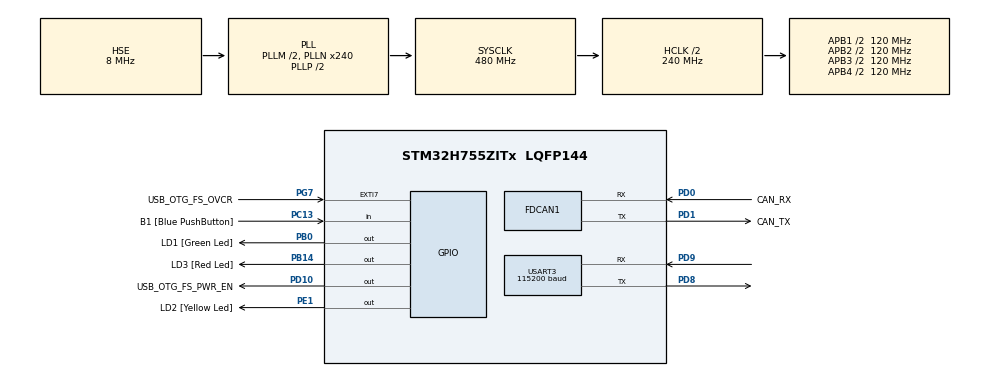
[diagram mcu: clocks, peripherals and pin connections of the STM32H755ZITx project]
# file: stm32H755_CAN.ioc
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CortexM4.IPs=FATFS_M4\:I,FREERTOS_M4\:I,IWDG2\:I,RCC,WWDG2\:I,DMA,BDMA,MDMA,NVIC2\:I,ETH,USART3,DEBUG,PDM2PCM_M4\:I,PWR,RESMGR_UTILITY,SYS_M4\:I,USB_DEVICE_M4\:I,USB_HOST_M4\:I,CORTEX_M4\:I,GPIO,OPENAMP_M4\:I,VREFBUF,NUCLEO-H755ZI-Q
CortexM4.Pins=PE1
CortexM7.IPs=FATFS_M7\:I,FREERTOS_M7\:I,IWDG1\:I,RCC\:I,WWDG1\:I,DMA\:I,BDMA\:I,MDMA\:I,NVIC1\:I,ETH\:I,USART3\:I,USB_OTG_FS\:I,SYS\:I,CORTEX_M7\:I,DEBUG\:I,PDM2PCM_M7\:I,PWR\:I,RESMGR_UTILITY\:I,USB_DEVICE_M7\:I,USB_HOST_M7\:I,GPIO\:I,OPENAMP_M7\:I,VREFBUF\:I,NUCLEO-H755ZI-Q\:I,FDCAN1\:I
CortexM7.Pins=PC13,PB0,PB14
FDCAN1.AutoRetransmission=DISABLE
FDCAN1.CalculateBaudRateNominal=500000
FDCAN1.CalculateTimeBitNominal=2000
FDCAN1.CalculateTimeQuantumNominal=50.0
FDCAN1.NominalPrescaler=2
FDCAN1.NominalSyncJumpWidth=8
FDCAN1.NominalTimeSeg1=31  
FDCAN1.NominalTimeSeg2=8
FDCAN1.ProtocolException=ENABLE
FDCAN1.RxFifo0ElmtsNbr=1
FDCAN1.StdFiltersNbr=1
FDCAN1.TxFifoQueueElmtsNbr=1
Mcu.Family=STM32H7
Mcu.Name=STM32H755ZITx
Mcu.Package=LQFP144
NVIC1.PriorityGroup=NVIC_PRIORITYGROUP_4
NVIC2.PriorityGroup=NVIC_PRIORITYGROUP_4
PA1.PinAttribute=CortexM7
PA1.Signal=ETH_REF_CLK
PA11.PinAttribute=CortexM7
PA11.Signal=USB_OTG_FS_DM
PA12.PinAttribute=CortexM7
PA12.Signal=USB_OTG_FS_DP
PA2.PinAttribute=CortexM7
PA2.Signal=ETH_MDIO
PA7.PinAttribute=CortexM7
PA7.Signal=ETH_CRS_DV
PA8.PinAttribute=CortexM7
PA8.Signal=USB_OTG_FS_SOF
PA9.PinAttribute=CortexM7
PA9.Signal=USB_OTG_FS_VBUS
PB0.GPIO_Label=LD1 [Green Led]
PB0.PinAttribute=CortexM7
PB0.Signal=GPIO_Output
PB13.PinAttribute=CortexM7
PB13.Signal=ETH_TXD1
PB14.GPIO_Label=LD3 [Red Led]
PB14.PinAttribute=CortexM7
PB14.Signal=GPIO_Output
PC1.PinAttribute=CortexM7
PC1.Signal=ETH_MDC
PC13.GPIO_Label=B1 [Blue PushButton]
PC13.PinAttribute=CortexM7
PC13.Signal=GPIO_Input
PC14-OSC32_IN\ (OSC32_IN).Mode=LSE-External-Oscillator
PC14-OSC32_IN\ (OSC32_IN).PinAttribute=Free
PC14-OSC32_IN\ (OSC32_IN).Signal=RCC_OSC32_IN
PC15-OSC32_OUT\ (OSC32_OUT).Mode=LSE-External-Oscillator
PC15-OSC32_OUT\ (OSC32_OUT).PinAttribute=Free
PC15-OSC32_OUT\ (OSC32_OUT).Signal=RCC_OSC32_OUT
PC4.PinAttribute=CortexM7
PC4.Signal=ETH_RXD0
PC5.PinAttribute=CortexM7
PC5.Signal=ETH_RXD1
PD0.GPIO_Label=CAN_RX
PD0.GPIO_PuPd=GPIO_NOPULL
PD0.GPIO_Speed=GPIO_SPEED_FREQ_VERY_HIGH
PD0.Mode=FDCAN_Activate
PD0.PinAttribute=CortexM7
PD0.Signal=FDCAN1_RX
PD1.GPIO_Label=CAN_TX
PD1.GPIO_PuPd=GPIO_PULLUP
PD1.GPIO_Speed=GPIO_SPEED_FREQ_VERY_HIGH
PD1.Mode=FDCAN_Activate
PD1.PinAttribute=CortexM7
PD1.Signal=FDCAN1_TX
PD10.GPIO_Label=USB_OTG_FS_PWR_EN
PD10.PinAttribute=Free
PD10.Signal=GPIO_Output
PD8.Mode=Asynchronous
PD8.PinAttribute=CortexM7
PD8.Signal=USART3_TX
PD9.Mode=Asynchronous
PD9.PinAttribute=CortexM7
PD9.Signal=USART3_RX
PE1.GPIO_Label=LD2 [Yellow Led]
PE1.PinAttribute=CortexM4
PE1.Signal=GPIO_Output
PG11.PinAttribute=CortexM7
PG11.Signal=ETH_TX_EN
PG13.PinAttribute=CortexM7
PG13.Signal=ETH_TXD0
PG7.GPIO_Label=USB_OTG_FS_OVCR
PG7.PinAttribute=Free
PG7.Signal=GPXTI7
PH0-OSC_IN\ (PH0).Mode=HSE-External-Clock-Source
PH0-OSC_IN\ (PH0).PinAttribute=Free
PH0-OSC_IN\ (PH0).Signal=RCC_OSC_IN
PH1-OSC_OUT\ (PH1).PinAttribute=Free
PH1-OSC_OUT\ (PH1).Signal=RCC_OSC_OUT
ProjectManager.HeapSize=M4-0x200,M7-0x200
ProjectManager.StackSize=M4-0x400,M7-0x400
ProjectManager.TargetToolchain=STM32CubeIDE
RCC.ADCFreq_Value=16125000
RCC.APB1Freq_Value=120000000
RCC.APB2Freq_Value=120000000
RCC.APB3Freq_Value=120000000
RCC.APB4Freq_Value=120000000
RCC.CortexFreq_Value=480000000
RCC.D1PPRE=RCC_APB3_DIV2
RCC.D2PPRE1=RCC_APB1_DIV2
RCC.D2PPRE2=RCC_APB2_DIV2
RCC.D3PPRE=RCC_APB4_DIV2
RCC.DIVM1=2
RCC.DIVN1=240
RCC.DIVQ1=24
RCC.HCLKFreq_Value=240000000
RCC.HPRE=RCC_HCLK_DIV2
RCC.HSE_VALUE=8000000
RCC.PLL2FRACN=0
RCC.PLL2_VCI_Range-AdvancedSettings=RCC_PLL2VCIRANGE_0
RCC.PLL3FRACN=0
RCC.PLL3_VCI_Range-AdvancedSettings=RCC_PLL3VCIRANGE_0
RCC.PLLFRACN=0
RCC.PLLSourceVirtual=RCC_PLLSOURCE_HSE
RCC.SYSCLKFreq_VALUE=480000000
RCC.SYSCLKSource=RCC_SYSCLKSOURCE_PLLCLK
RCC.SupplySource=PWR_DIRECT_SMPS_SUPPLY
RCC.USBFreq_Value=40000000
USART3.BaudRate=115200
USART3.VirtualMode-Asynchronous=VM_ASYNC
VP_SYS_M4_VS_Systick.Mode=SysTick
board=NUCLEO-H755ZI-Q

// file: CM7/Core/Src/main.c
/* USER CODE BEGIN Header */
/**
  ******************************************************************************
  * @file           : main.c
  * @brief          : Main program body
  ******************************************************************************
  * @attention
  *
  * Copyright (c) 2024 STMicroelectronics.
  * All rights reserved.
  *
  * This software is licensed under terms that can be found in the LICENSE file
  * in the root directory of this software component.
  * If no LICENSE file comes with this software, it is provided AS-IS.
  *
  ******************************************************************************
  */
/* USER CODE END Header */
#include "main.h"

/* USER CODE BEGIN Includes */
#include <stdio.h>
/* USER CODE END Includes */

/* USER CODE BEGIN PD */

#ifndef HSEM_ID_0
#define HSEM_ID_0 (0U) /* HW semaphore 0*/
#endif

/* USER CODE END PD */

FDCAN_HandleTypeDef hfdcan1;

UART_HandleTypeDef huart3;

/* USER CODE BEGIN PV */
FDCAN_FilterTypeDef sFilterConfig;
FDCAN_TxHeaderTypeDef TxHeader;
FDCAN_RxHeaderTypeDef RxHeader;
uint8_t TxData[8] = {0x10, 0x34, 0x54, 0x76, 0x98, 0x00, 0x11, 0x22};
uint8_t RxData[8];
/* USER CODE END PV */

void SystemClock_Config(void);
static void MX_GPIO_Init(void);
static void MX_USART3_UART_Init(void);
static void MX_FDCAN1_Init(void);

int main(void)
{

/* USER CODE BEGIN Boot_Mode_Sequence_0 */
  int32_t timeout;
/* USER CODE END Boot_Mode_Sequence_0 */

/* USER CODE BEGIN Boot_Mode_Sequence_1 */
  /* Wait until CPU2 boots and enters in stop mode or timeout*/
  timeout = 0xFFFF;
  while((__HAL_RCC_GET_FLAG(RCC_FLAG_D2CKRDY) != RESET) && (timeout-- > 0));
  if ( timeout < 0 )
  {
  Error_Handler();
  }
/* USER CODE END Boot_Mode_Sequence_1 */
  /* MCU Configuration--------------------------------------------------------*/

  /* Reset of all peripherals, Initializes the Flash interface and the Systick. */
  HAL_Init();

  /* Configure the system clock */
  SystemClock_Config();
/* USER CODE BEGIN Boot_Mode_Sequence_2 */
/* When system initialization is finished, Cortex-M7 will release Cortex-M4 by means of
HSEM notification */
/*HW semaphore Clock enable*/
__HAL_RCC_HSEM_CLK_ENABLE();
/*Take HSEM */
HAL_HSEM_FastTake(HSEM_ID_0);
/*Release HSEM in order to notify the CPU2(CM4)*/
HAL_HSEM_Release(HSEM_ID_0,0);
/* wait until CPU2 wakes up from stop mode */
timeout = 0xFFFF;
while((__HAL_RCC_GET_FLAG(RCC_FLAG_D2CKRDY) == RESET) && (timeout-- > 0));
if ( timeout < 0 )
{
Error_Handler();
}
/* USER CODE END Boot_Mode_Sequence_2 */

  /* Initialize all configured peripherals */
  MX_GPIO_Init();
  MX_USART3_UART_Init();
  MX_FDCAN1_Init();

  /* Infinite loop */
  /* USER CODE BEGIN WHILE */
  /* USER CODE BEGIN WHILE */ /*AAO+*/
  printf("Welcome to the CANbus!!!\n\r");
  while (1)
  {
    /* USER CODE END WHILE */

    /* USER CODE BEGIN 3 */
      // Send message
//	if (HAL_FDCAN_AddMessageToTxFifoQ(&hfdcan1, &TxHeader, TxData) == HAL_OK) {
//		// Message successfully added to the transmit queue
//		printf("Success\n\r");
//	} else {
//		// Handle error
//		printf("No success\n\r");
//	}
//	HAL_Delay(1000); // Wait 1 second before sending the next message

	// Esperar a que se reciba un mensaje CAN
	if (HAL_FDCAN_GetRxMessage(&hfdcan1, FDCAN_RX_FIFO0, &RxHeader, RxData) == HAL_OK) {
		// Imprimir el identificador del mensaje
		printf("\n\rMensaje recibido - ID: 0x%lx\n\r", RxHeader.Identifier);
	} else {
		printf("Error al recibir el mensaje CAN.\n\r");
	}

//	printf("A\n\r");
//	HAL_FDCAN_RxFifo0Callback( &hfdcan1, FDCAN_RX_FIFO0);
//	printf("B\n\r");

	HAL_Delay(1000); // Esperar antes de procesar el siguiente mensaje

//      // Wait until a CAN message is received
//      while (HAL_FDCAN_GetRxMessage(&hfdcan1, FDCAN_RX_FIFO0, &RxHeader, RxData) != HAL_OK);
//
//      // Print CAN ID
//      printf("\n\r0x%lx", RxHeader.Identifier);
//
//      // Print the CAN data length and data bytes
////      printf(" [%lu]", RxHeader.DataLength >> 16);  // Data length is stored in bits 16-19
//      printf(" [%lu]", RxHeader.DataLength);  // Data length is stored in bits 16-19
//      printf(" ");
//
//      // Loop through each byte of the CAN message data and print it
//      for (int i = 0; i < (RxHeader.DataLength); i++) {
//          printf("0x%02X ", RxData[i]);  // Print each byte in hexadecimal
//      }
//
//      // Delay for 100 ms
//      HAL_Delay(100);

//	  HAL_GPIO_TogglePin(LD1_GPIO_Port, LD1_Pin);
//	  printf("A\n\r");
//	  HAL_Delay(2000);
  }
  /* USER CODE END 3 */
}

void SystemClock_Config(void)
{
  RCC_OscInitTypeDef RCC_OscInitStruct = {0};
  RCC_ClkInitTypeDef RCC_ClkInitStruct = {0};

  /** Supply configuration update enable
  */
  HAL_PWREx_ConfigSupply(PWR_DIRECT_SMPS_SUPPLY);

  /** Configure the main internal regulator output voltage
  */
  __HAL_PWR_VOLTAGESCALING_CONFIG(PWR_REGULATOR_VOLTAGE_SCALE0);

  while(!__HAL_PWR_GET_FLAG(PWR_FLAG_VOSRDY)) {}

  /** Initializes the RCC Oscillators according to the specified parameters
  * in the RCC_OscInitTypeDef structure.
  */
  RCC_OscInitStruct.OscillatorType = RCC_OSCILLATORTYPE_HSE;
  RCC_OscInitStruct.HSEState = RCC_HSE_BYPASS;
  RCC_OscInitStruct.PLL.PLLState = RCC_PLL_ON;
  RCC_OscInitStruct.PLL.PLLSource = RCC_PLLSOURCE_HSE;
  RCC_OscInitStruct.PLL.PLLM = 2;
  RCC_OscInitStruct.PLL.PLLN = 240;
  RCC_OscInitStruct.PLL.PLLP = 2;
  RCC_OscInitStruct.PLL.PLLQ = 24;
  RCC_OscInitStruct.PLL.PLLR = 2;
  RCC_OscInitStruct.PLL.PLLRGE = RCC_PLL1VCIRANGE_2;
  RCC_OscInitStruct.PLL.PLLVCOSEL = RCC_PLL1VCOWIDE;
  RCC_OscInitStruct.PLL.PLLFRACN = 0;
  if (HAL_RCC_OscConfig(&RCC_OscInitStruct) != HAL_OK)
  {
    Error_Handler();
  }

  /** Initializes the CPU, AHB and APB buses clocks
  */
  RCC_ClkInitStruct.ClockType = RCC_CLOCKTYPE_HCLK|RCC_CLOCKTYPE_SYSCLK
                              |RCC_CLOCKTYPE_PCLK1|RCC_CLOCKTYPE_PCLK2
                              |RCC_CLOCKTYPE_D3PCLK1|RCC_CLOCKTYPE_D1PCLK1;
  RCC_ClkInitStruct.SYSCLKSource = RCC_SYSCLKSOURCE_PLLCLK;
  RCC_ClkInitStruct.SYSCLKDivider = RCC_SYSCLK_DIV1;
  RCC_ClkInitStruct.AHBCLKDivider = RCC_HCLK_DIV2;
  RCC_ClkInitStruct.APB3CLKDivider = RCC_APB3_DIV2;
  RCC_ClkInitStruct.APB1CLKDivider = RCC_APB1_DIV2;
  RCC_ClkInitStruct.APB2CLKDivider = RCC_APB2_DIV2;
  RCC_ClkInitStruct.APB4CLKDivider = RCC_APB4_DIV2;

  if (HAL_RCC_ClockConfig(&RCC_ClkInitStruct, FLASH_LATENCY_4) != HAL_OK)
  {
    Error_Handler();
  }
}

static void MX_FDCAN1_Init(void)
{

  hfdcan1.Instance = FDCAN1;
  hfdcan1.Init.FrameFormat = FDCAN_FRAME_CLASSIC;
  hfdcan1.Init.Mode = FDCAN_MODE_NORMAL;
  hfdcan1.Init.AutoRetransmission = DISABLE;
  hfdcan1.Init.TransmitPause = DISABLE;
  hfdcan1.Init.ProtocolException = ENABLE;
  hfdcan1.Init.NominalPrescaler = 2;
  hfdcan1.Init.NominalSyncJumpWidth = 8;
  hfdcan1.Init.NominalTimeSeg1 = 31 ;
  hfdcan1.Init.NominalTimeSeg2 = 8;
  hfdcan1.Init.DataPrescaler = 1;
  hfdcan1.Init.DataSyncJumpWidth = 1;
  hfdcan1.Init.DataTimeSeg1 = 1;
  hfdcan1.Init.DataTimeSeg2 = 1;
  hfdcan1.Init.MessageRAMOffset = 0;
  hfdcan1.Init.StdFiltersNbr = 1;
  hfdcan1.Init.ExtFiltersNbr = 0;
  hfdcan1.Init.RxFifo0ElmtsNbr = 1;
  hfdcan1.Init.RxFifo0ElmtSize = FDCAN_DATA_BYTES_8;
  hfdcan1.Init.RxFifo1ElmtsNbr = 0;
  hfdcan1.Init.RxFifo1ElmtSize = FDCAN_DATA_BYTES_8;
  hfdcan1.Init.RxBuffersNbr = 0;
  hfdcan1.Init.RxBufferSize = FDCAN_DATA_BYTES_8;
  hfdcan1.Init.TxEventsNbr = 0;
  hfdcan1.Init.TxBuffersNbr = 0;
  hfdcan1.Init.TxFifoQueueElmtsNbr = 1;
  hfdcan1.Init.TxFifoQueueMode = FDCAN_TX_FIFO_OPERATION;
  hfdcan1.Init.TxElmtSize = FDCAN_DATA_BYTES_8;
  if (HAL_FDCAN_Init(&hfdcan1) != HAL_OK)
  {
    Error_Handler();
  }
  /* USER CODE BEGIN FDCAN1_Init 2 */
  /*AAO+*/
   /* Configure Rx filter */

  //  CAN Standard Configuration
//    sFilterConfig.IdType = FDCAN_STANDARD_ID;
//    sFilterConfig.FilterIndex = 0;
//    sFilterConfig.FilterType = FDCAN_FILTER_MASK;
//    sFilterConfig.FilterConfig = FDCAN_FILTER_TO_RXFIFO0;
//    sFilterConfig.FilterID1 = 0x123;           // El ID específico que deseas filtrar
//    sFilterConfig.FilterID2 = 0x7FF;           // Máscara para filtrar exactamente el ID 0x123

  	//	CAN J1939 Configuration
	sFilterConfig.IdType = FDCAN_EXTENDED_ID;  // ID extendido de 29 bits
	sFilterConfig.FilterIndex = 0;
	sFilterConfig.FilterType = FDCAN_FILTER_MASK;
	sFilterConfig.FilterConfig = FDCAN_FILTER_TO_RXFIFO0;

	//	CAN Standard Configuration
//	  sFilterConfig.FilterID1 = 0x18FF1234;     // ID extendido específico
//    sFilterConfig.FilterID2 = 0x1FFFFFFF;     // Máscara para todos los bits

	//	CAN J1939 Configuration
//    sFilterConfig.FilterID1 = 0x18FF1234;     // ID extendido específico
//    sFilterConfig.FilterID2 = 0x1FFFFFFF;     // Máscara para todos los bits

	sFilterConfig.FilterID1 = 0x00000000;
	sFilterConfig.FilterID2 = 0x00000000;

//	sFilterConfig.FilterID1 = 0x18FF0000;  // PGN J1939 (0x18FF####)
//	sFilterConfig.FilterID2 = 0x18FFFF00;  // Máscara para ignorar la dirección fuente

    /* Configure global filter to reject all non-matching frames */
    HAL_FDCAN_ConfigGlobalFilter(&hfdcan1, FDCAN_REJECT, FDCAN_REJECT, FDCAN_REJECT_REMOTE, FDCAN_REJECT_REMOTE);

    if (HAL_FDCAN_ConfigFilter(&hfdcan1, &sFilterConfig) != HAL_OK)
      {
         /* Filter configuration Error */
         Error_Handler();
      }
     /* Start the FDCAN module */
    if (HAL_FDCAN_Start(&hfdcan1) != HAL_OK) {
      }
         /* Start Error */
    if (HAL_FDCAN_ActivateNotification(&hfdcan1, FDCAN_IT_RX_FIFO0_NEW_MESSAGE, 0) != HAL_OK) {
      }
         /* Notification Error */

     /* Configure Tx buffer message */
//	CAN Standard Configuration
//    TxHeader.Identifier = 0x121;
//    TxHeader.IdType = FDCAN_STANDARD_ID;
//    TxHeader.TxFrameType = FDCAN_DATA_FRAME;
//    TxHeader.DataLength = FDCAN_DLC_BYTES_8;

//	CAN J1939 Configuration
    TxHeader.Identifier = 0x18FF1233;  // Ejemplo de ID extendido J1939
    TxHeader.IdType = FDCAN_EXTENDED_ID;
    TxHeader.TxFrameType = FDCAN_DATA_FRAME;
    TxHeader.DataLength = FDCAN_DLC_BYTES_8;

    TxHeader.ErrorStateIndicator = FDCAN_ESI_ACTIVE;
    TxHeader.BitRateSwitch = FDCAN_BRS_OFF;
    TxHeader.FDFormat = FDCAN_FD_CAN;
    TxHeader.TxEventFifoControl = FDCAN_NO_TX_EVENTS;
    TxHeader.MessageMarker = 0x00;
   /*AAO-*/

     /* USER CODE END WHILE */

  /* USER CODE END FDCAN1_Init 2 */

}

static void MX_USART3_UART_Init(void)
{

  huart3.Instance = USART3;
  huart3.Init.BaudRate = 115200;
  huart3.Init.WordLength = UART_WORDLENGTH_8B;
  huart3.Init.StopBits = UART_STOPBITS_1;
  huart3.Init.Parity = UART_PARITY_NONE;
  huart3.Init.Mode = UART_MODE_TX_RX;
  huart3.Init.HwFlowCtl = UART_HWCONTROL_NONE;
  huart3.Init.OverSampling = UART_OVERSAMPLING_16;
  huart3.Init.OneBitSampling = UART_ONE_BIT_SAMPLE_DISABLE;
  huart3.Init.ClockPrescaler = UART_PRESCALER_DIV1;
  huart3.AdvancedInit.AdvFeatureInit = UART_ADVFEATURE_NO_INIT;
  if (HAL_UART_Init(&huart3) != HAL_OK)
  {
    Error_Handler();
  }
  if (HAL_UARTEx_SetTxFifoThreshold(&huart3, UART_TXFIFO_THRESHOLD_1_8) != HAL_OK)
  {
    Error_Handler();
  }
  if (HAL_UARTEx_SetRxFifoThreshold(&huart3, UART_RXFIFO_THRESHOLD_1_8) != HAL_OK)
  {
    Error_Handler();
  }
  if (HAL_UARTEx_DisableFifoMode(&huart3) != HAL_OK)
  {
    Error_Handler();
  }

}

static void MX_GPIO_Init(void)
{
  GPIO_InitTypeDef GPIO_InitStruct = {0};

  /* GPIO Ports Clock Enable */
  __HAL_RCC_GPIOC_CLK_ENABLE();
  __HAL_RCC_GPIOA_CLK_ENABLE();
  __HAL_RCC_GPIOB_CLK_ENABLE();
  __HAL_RCC_GPIOD_CLK_ENABLE();
  __HAL_RCC_GPIOG_CLK_ENABLE();

  /*Configure GPIO pin Output Level */
  HAL_GPIO_WritePin(GPIOB, LD1_Pin|LD3_Pin, GPIO_PIN_RESET);

  /*Configure GPIO pin : B1_Pin */
  GPIO_InitStruct.Pin = B1_Pin;
  GPIO_InitStruct.Mode = GPIO_MODE_INPUT;
  GPIO_InitStruct.Pull = GPIO_NOPULL;
  HAL_GPIO_Init(B1_GPIO_Port, &GPIO_InitStruct);

  /*Configure GPIO pins : PC1 PC4 PC5 */
  GPIO_InitStruct.Pin = GPIO_PIN_1|GPIO_PIN_4|GPIO_PIN_5;
  GPIO_InitStruct.Mode = GPIO_MODE_AF_PP;
  GPIO_InitStruct.Pull = GPIO_NOPULL;
  GPIO_InitStruct.Speed = GPIO_SPEED_FREQ_LOW;
  GPIO_InitStruct.Alternate = GPIO_AF11_ETH;
  HAL_GPIO_Init(GPIOC, &GPIO_InitStruct);

  /*Configure GPIO pins : PA1 PA2 PA7 */
  GPIO_InitStruct.Pin = GPIO_PIN_1|GPIO_PIN_2|GPIO_PIN_7;
  GPIO_InitStruct.Mode = GPIO_MODE_AF_PP;
  GPIO_InitStruct.Pull = GPIO_NOPULL;
  GPIO_InitStruct.Speed = GPIO_SPEED_FREQ_LOW;
  GPIO_InitStruct.Alternate = GPIO_AF11_ETH;
  HAL_GPIO_Init(GPIOA, &GPIO_InitStruct);

  /*Configure GPIO pins : LD1_Pin LD3_Pin */
  GPIO_InitStruct.Pin = LD1_Pin|LD3_Pin;
  GPIO_InitStruct.Mode = GPIO_MODE_OUTPUT_PP;
  GPIO_InitStruct.Pull = GPIO_NOPULL;
  GPIO_InitStruct.Speed = GPIO_SPEED_FREQ_LOW;
  HAL_GPIO_Init(GPIOB, &GPIO_InitStruct);

  /*Configure GPIO pin : PB13 */
  GPIO_InitStruct.Pin = GPIO_PIN_13;
  GPIO_InitStruct.Mode = GPIO_MODE_AF_PP;
  GPIO_InitStruct.Pull = GPIO_NOPULL;
  GPIO_InitStruct.Speed = GPIO_SPEED_FREQ_LOW;
  GPIO_InitStruct.Alternate = GPIO_AF11_ETH;
  HAL_GPIO_Init(GPIOB, &GPIO_InitStruct);

  /*Configure GPIO pins : PA8 PA11 PA12 */
  GPIO_InitStruct.Pin = GPIO_PIN_8|GPIO_PIN_11|GPIO_PIN_12;
  GPIO_InitStruct.Mode = GPIO_MODE_AF_PP;
  GPIO_InitStruct.Pull = GPIO_NOPULL;
  GPIO_InitStruct.Speed = GPIO_SPEED_FREQ_LOW;
  GPIO_InitStruct.Alternate = GPIO_AF10_OTG1_FS;
  HAL_GPIO_Init(GPIOA, &GPIO_InitStruct);

  /*Configure GPIO pins : PG11 PG13 */
  GPIO_InitStruct.Pin = GPIO_PIN_11|GPIO_PIN_13;
  GPIO_InitStruct.Mode = GPIO_MODE_AF_PP;
  GPIO_InitStruct.Pull = GPIO_NOPULL;
  GPIO_InitStruct.Speed = GPIO_SPEED_FREQ_LOW;
  GPIO_InitStruct.Alternate = GPIO_AF11_ETH;
  HAL_GPIO_Init(GPIOG, &GPIO_InitStruct);

}

/* USER CODE BEGIN 4 */
void HAL_FDCAN_RxFifo0Callback(FDCAN_HandleTypeDef *hfdcan, uint32_t RxFifo0ITs) {
    if ((RxFifo0ITs & FDCAN_IT_RX_FIFO0_NEW_MESSAGE) != RESET) {
        FDCAN_RxHeaderTypeDef RxHeader;
        uint8_t RxData[8];

        if (HAL_FDCAN_GetRxMessage(hfdcan, FDCAN_RX_FIFO0, &RxHeader, RxData) == HAL_OK) {
            printf("\nMensaje recibido: ID=0x%lx, PGN=0x%lx\n", RxHeader.Identifier, (RxHeader.Identifier >> 8) & 0xFFFF);

            for (int i = 0; i < 8; i++) {
                printf("Dato[%d]: 0x%02X\n", i, RxData[i]);
            }
        }
    } else {
    	printf("Wrong test\n\r");
    }
}
/* USER CODE END 4 */

void Error_Handler(void)
{
  __disable_irq();
  while (1)
  {
  }
}
